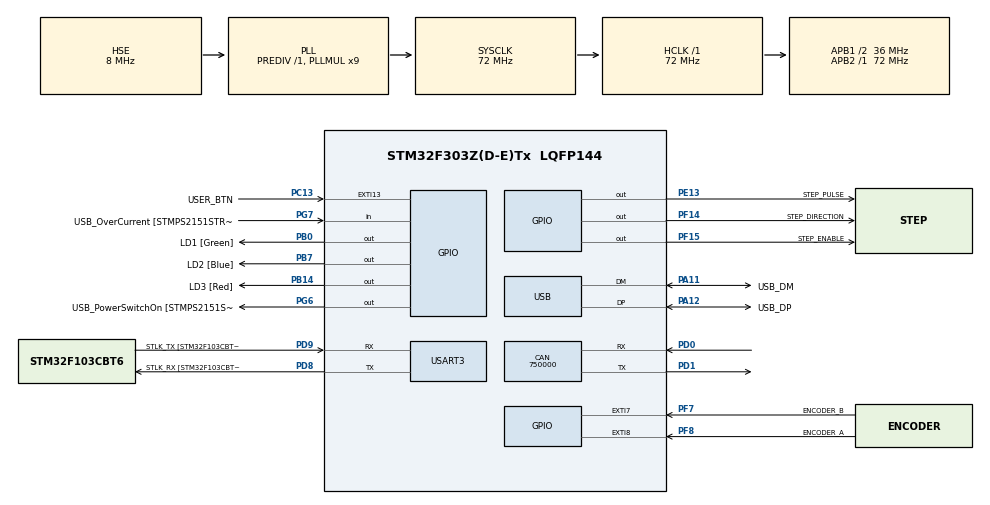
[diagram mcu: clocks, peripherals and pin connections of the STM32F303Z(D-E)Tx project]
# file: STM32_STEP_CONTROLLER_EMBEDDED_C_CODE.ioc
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CAN.CalculateBaudRate=750000
CAN.CalculateTimeBit=1333.33
CAN.CalculateTimeQuantum=444.44444444444446
Dma.Request0=USART3_RX
Dma.USART3_RX.0.Direction=DMA_PERIPH_TO_MEMORY
Dma.USART3_RX.0.Instance=DMA1_Channel3
Dma.USART3_RX.0.MemDataAlignment=DMA_MDATAALIGN_BYTE
Dma.USART3_RX.0.MemInc=DMA_MINC_ENABLE
Dma.USART3_RX.0.Mode=DMA_NORMAL
Dma.USART3_RX.0.PeriphDataAlignment=DMA_PDATAALIGN_BYTE
Dma.USART3_RX.0.PeriphInc=DMA_PINC_DISABLE
Dma.USART3_RX.0.Priority=DMA_PRIORITY_LOW
Mcu.Family=STM32F3
Mcu.Name=STM32F303Z(D-E)Tx
Mcu.Package=LQFP144
NVIC.DMA1_Channel3_IRQn=true\:0\:0\:false\:false\:true\:false\:true
NVIC.EXTI15_10_IRQn=true\:0\:0\:false\:false\:true\:true\:true
NVIC.EXTI9_5_IRQn=true\:0\:0\:false\:false\:true\:true\:true
NVIC.PriorityGroup=NVIC_PRIORITYGROUP_4
NVIC.USART3_IRQn=true\:0\:0\:false\:false\:true\:true\:true
NVIC.USB_HP_IRQn=true\:0\:0\:false\:false\:true\:true\:true
NVIC.USB_LP_IRQn=true\:0\:0\:false\:false\:true\:true\:true
PA11.GPIO_Label=USB_DM
PA11.Mode=Device
PA11.Signal=USB_DM
PA12.GPIO_Label=USB_DP
PA12.Mode=Device
PA12.Signal=USB_DP
PA13.GPIO_Label=TMS
PA13.Mode=Serial_Wire
PA13.Signal=SYS_JTMS-SWDIO
PA14.GPIO_Label=TCK
PA14.Mode=Serial_Wire
PA14.Signal=SYS_JTCK-SWCLK
PB0.GPIO_Label=LD1 [Green]
PB0.Signal=GPIO_Output
PB14.GPIO_Label=LD3 [Red]
PB14.Signal=GPIO_Output
PB3.GPIO_Label=SWO
PB3.Signal=SYS_JTDO-TRACESWO
PB7.GPIO_Label=LD2 [Blue]
PB7.Signal=GPIO_Output
PC13.GPIO_Label=USER_BTN
PC13.Signal=GPXTI13
PC14-OSC32_IN.Mode=LSE-External-Oscillator
PC14-OSC32_IN.Signal=RCC_OSC32_IN
PC15-OSC32_OUT.Mode=LSE-External-Oscillator
PC15-OSC32_OUT.Signal=RCC_OSC32_OUT
PD0.Mode=CAN_Activate
PD0.Signal=CAN_RX
PD1.Mode=CAN_Activate
PD1.Signal=CAN_TX
PD8.GPIO_Label=STLK_RX [STM32F103CBT6_PA3]
PD8.Mode=Asynchronous
PD8.Signal=USART3_TX
PD9.GPIO_Label=STLK_TX [STM32F103CBT6_PA2]
PD9.Mode=Asynchronous
PD9.Signal=USART3_RX
PE13.GPIO_Label=STEP_PULSE
PE13.GPIO_Speed=GPIO_SPEED_FREQ_MEDIUM
PE13.Signal=GPIO_Output
PF0-OSC_IN.GPIO_Label=MCO [STM32F103CBT6_PA8]
PF0-OSC_IN.Mode=HSE-External-Clock-Source
PF0-OSC_IN.Signal=RCC_OSC_IN
PF14.GPIO_Label=STEP_DIRECTION
PF14.GPIO_Speed=GPIO_SPEED_FREQ_MEDIUM
PF14.Signal=GPIO_Output
PF15.GPIO_Label=STEP_ENABLE
PF15.GPIO_ModeDefaultOutputPP=GPIO_MODE_OUTPUT_PP
PF15.GPIO_Speed=GPIO_SPEED_FREQ_MEDIUM
PF15.PinState=GPIO_PIN_SET
PF15.Signal=GPIO_Output
PF7.GPIO_Label=ENCODER_B
PF7.GPIO_ModeDefaultEXTI=GPIO_MODE_IT_RISING_FALLING
PF7.GPIO_PuPd=GPIO_NOPULL
PF7.Signal=GPXTI7
PF8.GPIO_Label=ENCODER_A
PF8.GPIO_ModeDefaultEXTI=GPIO_MODE_IT_RISING_FALLING
PF8.GPIO_PuPd=GPIO_NOPULL
PF8.Signal=GPXTI8
PG6.GPIO_Label=USB_PowerSwitchOn [STMPS2151STR_EN]
PG6.Signal=GPIO_Output
PG7.GPIO_Label=USB_OverCurrent [STMPS2151STR_FAULT]
PG7.Signal=GPIO_Input
ProjectManager.HeapSize=0x200
ProjectManager.StackSize=0x400
ProjectManager.TargetToolchain=STM32CubeIDE
RCC.AHBFreq_Value=72000000
RCC.APB1CLKDivider=RCC_HCLK_DIV2
RCC.APB1Freq_Value=36000000
RCC.APB1TimFreq_Value=72000000
RCC.APB2Freq_Value=72000000
RCC.APB2TimFreq_Value=72000000
RCC.CortexFreq_Value=72000000
RCC.HCLKFreq_Value=72000000
RCC.HSE_VALUE=8000000
RCC.HSI_VALUE=8000000
RCC.PLLMUL=RCC_PLL_MUL9
RCC.PRESCALERUSB=RCC_USBCLKSOURCE_PLL_DIV1_5
RCC.SYSCLKFreq_VALUE=72000000
RCC.SYSCLKSourceVirtual=RCC_SYSCLKSOURCE_PLLCLK
RCC.USBFreq_Value=48000000
TIM1.Period=0xffff-1
TIM1.Prescaler=72-1
USART3.VirtualMode-Asynchronous=VM_ASYNC
VP_RTC_VS_RTC_Activate.Mode=RTC_Enabled
VP_TIM1_VS_ClockSourceINT.Mode=Internal
board=NUCLEO-F303ZE

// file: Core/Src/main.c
/* USER CODE BEGIN Header */
/**
  ******************************************************************************
  * @file           : main.c
  * @brief          : Main program body
  ******************************************************************************
  * @attention
  *
  * <h2><center>&copy; Copyright (c) 2020 STMicroelectronics.
  * All rights reserved.</center></h2>
  *
  * This software component is licensed by ST under BSD 3-Clause license,
  * the "License"; You may not use this file except in compliance with the
  * License. You may obtain a copy of the License at:
  *                        opensource.org/licenses/BSD-3-Clause
  *
  ******************************************************************************
  */
/* USER CODE END Header */
#include "main.h"

/* USER CODE BEGIN Includes */
#include "encoder_driver.h"
#include "step_driver.h"
#include "uart_driver.h"
#include "stdio.h"
#include "string.h"
/* USER CODE END Includes */

CAN_HandleTypeDef hcan;

RTC_HandleTypeDef hrtc;

TIM_HandleTypeDef htim1;

UART_HandleTypeDef huart3;
DMA_HandleTypeDef hdma_usart3_rx;

PCD_HandleTypeDef hpcd_USB_FS;

/* USER CODE BEGIN PV */
extern int32_t encoder_step;

/* USER CODE END PV */

void SystemClock_Config(void);
static void MX_GPIO_Init(void);
static void MX_DMA_Init(void);
static void MX_RTC_Init(void);
static void MX_USART3_UART_Init(void);
static void MX_USB_PCD_Init(void);
static void MX_CAN_Init(void);
static void MX_TIM1_Init(void);

/* USER CODE BEGIN 0 */
int _write(int file, char *ptr, int len)
{
  /* Implement your write code here, this is used by puts and printf for example */
  int i=0;
  for(i=0 ; i<len ; i++)
    ITM_SendChar((*ptr++));
  return len;
}

void delay_us (uint16_t us)
{
	__HAL_TIM_SET_COUNTER(&htim1,0);  // set the counter value a 0
	while (__HAL_TIM_GET_COUNTER(&htim1) < us);  // wait for the counter to reach the us input in the parameter
}

/* USER CODE END 0 */

int main(void)
{

  /* MCU Configuration--------------------------------------------------------*/

  /* Reset of all peripherals, Initializes the Flash interface and the Systick. */
  HAL_Init();

  /* Configure the system clock */
  SystemClock_Config();

  /* Initialize all configured peripherals */
  MX_GPIO_Init();
  MX_DMA_Init();
  MX_RTC_Init();
  MX_USART3_UART_Init();
  MX_USB_PCD_Init();
  MX_CAN_Init();
  MX_TIM1_Init();
  /* USER CODE BEGIN 2 */
  HAL_TIM_Base_Start(&htim1); //Delay us için gerekli.

  //HAL_UART_Receive_IT(&huart3, rx_buffer, __RECEIVE_BUFFER); //Uart Receive IT Ayarı
  //UART_SET_RECEIVE_DMA(&huart3);
  UART_SET_RECEIVE_DMA();
  DEFAULT_SETTINGS();

//  stepCommand.degree = 360;
//  stepCommand.delay = CalculateDelayToSpeed(2);
//  COMMAND_DIRECTION_ANTI_CLOCKWISE();
//  MOD_CHANGE_LIMITED_ANGLE_MODE();

  /* USER CODE END 2 */

  /* Infinite loop */
  /* USER CODE BEGIN WHILE */
  while (1)
  {
	  STEP_MOTOR_CONTROL();

//	  HAL_GPIO_TogglePin(LD1_GPIO_Port, LD1_Pin);
//
//	  Step_Set_Enable();
//
//	  for (int x = 0; x<200000; x++)
//	  {
//		  Step_Send_Single_Pulse();
//		  //HAL_Delay();
//	  }
//
//	  		//DEBUG İÇİN
//	  			char buffer[6];
//	  			for (int x = 0; x < 6; x++)
//	  			{
//	  				buffer[x]='\0';
//	  			}
//
//	  			itoa(encoder_step,buffer,10);
//
//	  		//DEBUG SWV DATA CONSOLE
//	  		//	printf(buffer);
//	  		//	printf("\n");
//
//	  		//DEBUG UART
//	  		HAL_UART_Transmit(&huart3, &buffer, 6, 100);
//	  		HAL_UART_Transmit(&huart3, "\n", 1, 100);
//
//	  while(1){};

//	  strncpy(sendbuffer, rx_buffer, 22);
//	  sendbuffer[22]='\n';
//	  if (HAL_UART_Transmit(&huart3, sendbuffer, 23, 100) != HAL_OK) Error_Handler();
//	  else HAL_GPIO_TogglePin(LD1_GPIO_Port, LD1_Pin);

//	  char buffer[15];
//	  itoa(Step_Get_State().Step_Counter,buffer,10);
//	  printf(buffer);
//	  printf("\n");

    /* USER CODE END WHILE */

  }
}

void SystemClock_Config(void)
{
  RCC_OscInitTypeDef RCC_OscInitStruct = {0};
  RCC_ClkInitTypeDef RCC_ClkInitStruct = {0};
  RCC_PeriphCLKInitTypeDef PeriphClkInit = {0};

  /** Initializes the RCC Oscillators according to the specified parameters
  * in the RCC_OscInitTypeDef structure.
  */
  RCC_OscInitStruct.OscillatorType = RCC_OSCILLATORTYPE_LSI|RCC_OSCILLATORTYPE_HSE;
  RCC_OscInitStruct.HSEState = RCC_HSE_BYPASS;
  RCC_OscInitStruct.HSIState = RCC_HSI_ON;
  RCC_OscInitStruct.LSIState = RCC_LSI_ON;
  RCC_OscInitStruct.PLL.PLLState = RCC_PLL_ON;
  RCC_OscInitStruct.PLL.PLLSource = RCC_PLLSOURCE_HSE;
  RCC_OscInitStruct.PLL.PLLMUL = RCC_PLL_MUL9;
  RCC_OscInitStruct.PLL.PREDIV = RCC_PREDIV_DIV1;
  if (HAL_RCC_OscConfig(&RCC_OscInitStruct) != HAL_OK)
  {
    Error_Handler();
  }
  /** Initializes the CPU, AHB and APB buses clocks
  */
  RCC_ClkInitStruct.ClockType = RCC_CLOCKTYPE_HCLK|RCC_CLOCKTYPE_SYSCLK
                              |RCC_CLOCKTYPE_PCLK1|RCC_CLOCKTYPE_PCLK2;
  RCC_ClkInitStruct.SYSCLKSource = RCC_SYSCLKSOURCE_PLLCLK;
  RCC_ClkInitStruct.AHBCLKDivider = RCC_SYSCLK_DIV1;
  RCC_ClkInitStruct.APB1CLKDivider = RCC_HCLK_DIV2;
  RCC_ClkInitStruct.APB2CLKDivider = RCC_HCLK_DIV1;

  if (HAL_RCC_ClockConfig(&RCC_ClkInitStruct, FLASH_LATENCY_2) != HAL_OK)
  {
    Error_Handler();
  }
  PeriphClkInit.PeriphClockSelection = RCC_PERIPHCLK_USB|RCC_PERIPHCLK_USART3
                              |RCC_PERIPHCLK_RTC|RCC_PERIPHCLK_TIM1;
  PeriphClkInit.Usart3ClockSelection = RCC_USART3CLKSOURCE_PCLK1;
  PeriphClkInit.RTCClockSelection = RCC_RTCCLKSOURCE_LSI;
  PeriphClkInit.USBClockSelection = RCC_USBCLKSOURCE_PLL_DIV1_5;
  PeriphClkInit.Tim1ClockSelection = RCC_TIM1CLK_HCLK;
  if (HAL_RCCEx_PeriphCLKConfig(&PeriphClkInit) != HAL_OK)
  {
    Error_Handler();
  }
}

static void MX_CAN_Init(void)
{

  hcan.Instance = CAN;
  hcan.Init.Prescaler = 16;
  hcan.Init.Mode = CAN_MODE_NORMAL;
  hcan.Init.SyncJumpWidth = CAN_SJW_1TQ;
  hcan.Init.TimeSeg1 = CAN_BS1_1TQ;
  hcan.Init.TimeSeg2 = CAN_BS2_1TQ;
  hcan.Init.TimeTriggeredMode = DISABLE;
  hcan.Init.AutoBusOff = DISABLE;
  hcan.Init.AutoWakeUp = DISABLE;
  hcan.Init.AutoRetransmission = DISABLE;
  hcan.Init.ReceiveFifoLocked = DISABLE;
  hcan.Init.TransmitFifoPriority = DISABLE;
  if (HAL_CAN_Init(&hcan) != HAL_OK)
  {
    Error_Handler();
  }

}

static void MX_RTC_Init(void)
{

  /** Initialize RTC Only
  */
  hrtc.Instance = RTC;
  hrtc.Init.HourFormat = RTC_HOURFORMAT_24;
  hrtc.Init.AsynchPrediv = 127;
  hrtc.Init.SynchPrediv = 255;
  hrtc.Init.OutPut = RTC_OUTPUT_DISABLE;
  hrtc.Init.OutPutPolarity = RTC_OUTPUT_POLARITY_HIGH;
  hrtc.Init.OutPutType = RTC_OUTPUT_TYPE_OPENDRAIN;
  if (HAL_RTC_Init(&hrtc) != HAL_OK)
  {
    Error_Handler();
  }

}

static void MX_TIM1_Init(void)
{

  TIM_ClockConfigTypeDef sClockSourceConfig = {0};
  TIM_MasterConfigTypeDef sMasterConfig = {0};

  htim1.Instance = TIM1;
  htim1.Init.Prescaler = 72-1;
  htim1.Init.CounterMode = TIM_COUNTERMODE_UP;
  htim1.Init.Period = 0xffff-1;
  htim1.Init.ClockDivision = TIM_CLOCKDIVISION_DIV1;
  htim1.Init.RepetitionCounter = 0;
  htim1.Init.AutoReloadPreload = TIM_AUTORELOAD_PRELOAD_DISABLE;
  if (HAL_TIM_Base_Init(&htim1) != HAL_OK)
  {
    Error_Handler();
  }
  sClockSourceConfig.ClockSource = TIM_CLOCKSOURCE_INTERNAL;
  if (HAL_TIM_ConfigClockSource(&htim1, &sClockSourceConfig) != HAL_OK)
  {
    Error_Handler();
  }
  sMasterConfig.MasterOutputTrigger = TIM_TRGO_RESET;
  sMasterConfig.MasterOutputTrigger2 = TIM_TRGO2_RESET;
  sMasterConfig.MasterSlaveMode = TIM_MASTERSLAVEMODE_DISABLE;
  if (HAL_TIMEx_MasterConfigSynchronization(&htim1, &sMasterConfig) != HAL_OK)
  {
    Error_Handler();
  }

}

static void MX_USART3_UART_Init(void)
{

  huart3.Instance = USART3;
  huart3.Init.BaudRate = 38400;
  huart3.Init.WordLength = UART_WORDLENGTH_8B;
  huart3.Init.StopBits = UART_STOPBITS_1;
  huart3.Init.Parity = UART_PARITY_NONE;
  huart3.Init.Mode = UART_MODE_TX_RX;
  huart3.Init.HwFlowCtl = UART_HWCONTROL_NONE;
  huart3.Init.OverSampling = UART_OVERSAMPLING_16;
  huart3.Init.OneBitSampling = UART_ONE_BIT_SAMPLE_DISABLE;
  huart3.AdvancedInit.AdvFeatureInit = UART_ADVFEATURE_NO_INIT;
  if (HAL_UART_Init(&huart3) != HAL_OK)
  {
    Error_Handler();
  }

}

static void MX_USB_PCD_Init(void)
{

  hpcd_USB_FS.Instance = USB;
  hpcd_USB_FS.Init.dev_endpoints = 8;
  hpcd_USB_FS.Init.speed = PCD_SPEED_FULL;
  hpcd_USB_FS.Init.phy_itface = PCD_PHY_EMBEDDED;
  hpcd_USB_FS.Init.low_power_enable = DISABLE;
  hpcd_USB_FS.Init.lpm_enable = DISABLE;
  hpcd_USB_FS.Init.battery_charging_enable = DISABLE;
  if (HAL_PCD_Init(&hpcd_USB_FS) != HAL_OK)
  {
    Error_Handler();
  }

}

static void MX_DMA_Init(void)
{

  /* DMA controller clock enable */
  __HAL_RCC_DMA1_CLK_ENABLE();

  /* DMA interrupt init */
  /* DMA1_Channel3_IRQn interrupt configuration */
  HAL_NVIC_SetPriority(DMA1_Channel3_IRQn, 0, 0);
  HAL_NVIC_EnableIRQ(DMA1_Channel3_IRQn);

}

static void MX_GPIO_Init(void)
{
  GPIO_InitTypeDef GPIO_InitStruct = {0};

  /* GPIO Ports Clock Enable */
  __HAL_RCC_GPIOC_CLK_ENABLE();
  __HAL_RCC_GPIOF_CLK_ENABLE();
  __HAL_RCC_GPIOB_CLK_ENABLE();
  __HAL_RCC_GPIOE_CLK_ENABLE();
  __HAL_RCC_GPIOD_CLK_ENABLE();
  __HAL_RCC_GPIOG_CLK_ENABLE();
  __HAL_RCC_GPIOA_CLK_ENABLE();

  /*Configure GPIO pin Output Level */
  HAL_GPIO_WritePin(GPIOB, LD1_Pin|LD3_Pin|LD2_Pin, GPIO_PIN_RESET);

  /*Configure GPIO pin Output Level */
  HAL_GPIO_WritePin(STEP_DIRECTION_GPIO_Port, STEP_DIRECTION_Pin, GPIO_PIN_RESET);

  /*Configure GPIO pin Output Level */
  HAL_GPIO_WritePin(STEP_ENABLE_GPIO_Port, STEP_ENABLE_Pin, GPIO_PIN_SET);

  /*Configure GPIO pin Output Level */
  HAL_GPIO_WritePin(STEP_PULSE_GPIO_Port, STEP_PULSE_Pin, GPIO_PIN_RESET);

  /*Configure GPIO pin Output Level */
  HAL_GPIO_WritePin(USB_PowerSwitchOn_GPIO_Port, USB_PowerSwitchOn_Pin, GPIO_PIN_RESET);

  /*Configure GPIO pin : USER_BTN_Pin */
  GPIO_InitStruct.Pin = USER_BTN_Pin;
  GPIO_InitStruct.Mode = GPIO_MODE_IT_RISING;
  GPIO_InitStruct.Pull = GPIO_NOPULL;
  HAL_GPIO_Init(USER_BTN_GPIO_Port, &GPIO_InitStruct);

  /*Configure GPIO pins : ENCODER_B_Pin ENCODER_A_Pin */
  GPIO_InitStruct.Pin = ENCODER_B_Pin|ENCODER_A_Pin;
  GPIO_InitStruct.Mode = GPIO_MODE_IT_RISING_FALLING;
  GPIO_InitStruct.Pull = GPIO_NOPULL;
  HAL_GPIO_Init(GPIOF, &GPIO_InitStruct);

  /*Configure GPIO pins : LD1_Pin LD3_Pin LD2_Pin */
  GPIO_InitStruct.Pin = LD1_Pin|LD3_Pin|LD2_Pin;
  GPIO_InitStruct.Mode = GPIO_MODE_OUTPUT_PP;
  GPIO_InitStruct.Pull = GPIO_NOPULL;
  GPIO_InitStruct.Speed = GPIO_SPEED_FREQ_LOW;
  HAL_GPIO_Init(GPIOB, &GPIO_InitStruct);

  /*Configure GPIO pins : STEP_DIRECTION_Pin STEP_ENABLE_Pin */
  GPIO_InitStruct.Pin = STEP_DIRECTION_Pin|STEP_ENABLE_Pin;
  GPIO_InitStruct.Mode = GPIO_MODE_OUTPUT_PP;
  GPIO_InitStruct.Pull = GPIO_NOPULL;
  GPIO_InitStruct.Speed = GPIO_SPEED_FREQ_MEDIUM;
  HAL_GPIO_Init(GPIOF, &GPIO_InitStruct);

  /*Configure GPIO pin : STEP_PULSE_Pin */
  GPIO_InitStruct.Pin = STEP_PULSE_Pin;
  GPIO_InitStruct.Mode = GPIO_MODE_OUTPUT_PP;
  GPIO_InitStruct.Pull = GPIO_NOPULL;
  GPIO_InitStruct.Speed = GPIO_SPEED_FREQ_MEDIUM;
  HAL_GPIO_Init(STEP_PULSE_GPIO_Port, &GPIO_InitStruct);

  /*Configure GPIO pin : USB_PowerSwitchOn_Pin */
  GPIO_InitStruct.Pin = USB_PowerSwitchOn_Pin;
  GPIO_InitStruct.Mode = GPIO_MODE_OUTPUT_PP;
  GPIO_InitStruct.Pull = GPIO_NOPULL;
  GPIO_InitStruct.Speed = GPIO_SPEED_FREQ_LOW;
  HAL_GPIO_Init(USB_PowerSwitchOn_GPIO_Port, &GPIO_InitStruct);

  /*Configure GPIO pin : USB_OverCurrent_Pin */
  GPIO_InitStruct.Pin = USB_OverCurrent_Pin;
  GPIO_InitStruct.Mode = GPIO_MODE_INPUT;
  GPIO_InitStruct.Pull = GPIO_NOPULL;
  HAL_GPIO_Init(USB_OverCurrent_GPIO_Port, &GPIO_InitStruct);

  /* EXTI interrupt init*/
  HAL_NVIC_SetPriority(EXTI9_5_IRQn, 0, 0);
  HAL_NVIC_EnableIRQ(EXTI9_5_IRQn);

  HAL_NVIC_SetPriority(EXTI15_10_IRQn, 0, 0);
  HAL_NVIC_EnableIRQ(EXTI15_10_IRQn);

}

void Error_Handler(void)
{
  __disable_irq();
  while (1)
  {
  }
}

/************************ (C) COPYRIGHT STMicroelectronics *****END OF FILE****/
